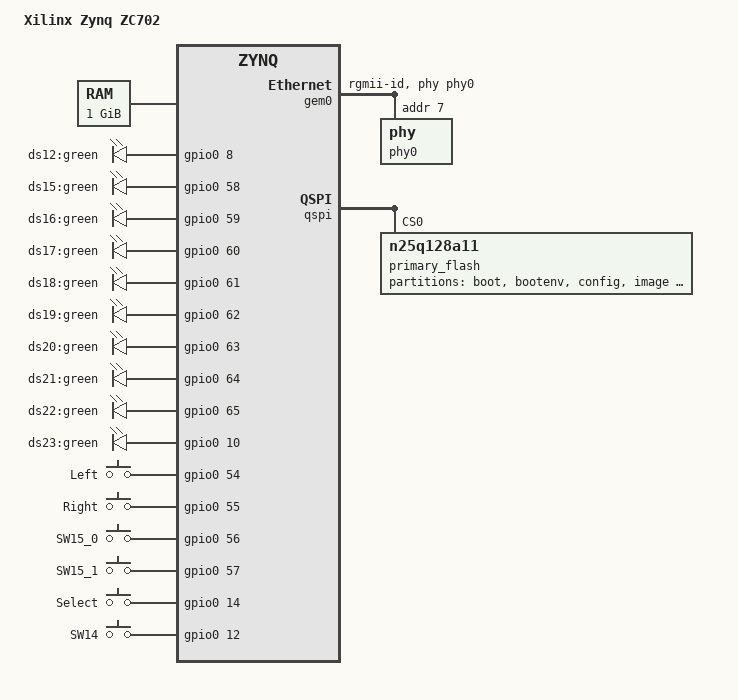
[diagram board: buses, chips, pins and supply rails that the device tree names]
#include "zynq.dtsi"

#include <dt-bindings/interrupt-controller/irq.h>

/ {
	model = "Xilinx Zynq ZC702";

	memory {
		device_type = "memory";
		reg = <0x000000000 0x40000000>;
	};

	chosen {
//		bootargs = "console=ttyPS0,115200 root=/dev/ram rw initrd=0x1100000,33M ip=:::::eth0:dhcp earlyprintk";
		bootargs = "console=ttyPS0,115200 root=/dev/mmcblk0p2 rw earlyprintk rootfstype=ext4 rootwait";
		stdout-path = "/amba@0/uart@E0001000";
	};

	leds {
		compatible = "gpio-leds";
		ds12 {
			label = "ds12:green";
			gpios = <&gpio0 8 0>;
		};

		ds15 {
			label = "ds15:green";
			gpios = <&gpio0 58 0>;
		};

		ds16 {
			label = "ds16:green";
			gpios = <&gpio0 59 0>;
		};

		ds17 {
			label = "ds17:green";
			gpios = <&gpio0 60 0>;
		};

		ds18 {
			label = "ds18:green";
			gpios = <&gpio0 61 0>;
		};

		ds19 {
			label = "ds19:green";
			gpios = <&gpio0 62 0>;
		};

		ds20 {
			label = "ds20:green";
			gpios = <&gpio0 63 0>;
		};

		ds21 {
			label = "ds21:green";
			gpios = <&gpio0 64 0>;
		};

		ds22 {
			label = "ds22:green";
			gpios = <&gpio0 65 0>;
		};

		ds23 {
			label = "ds23:green";
			gpios = <&gpio0 10 0>;
		};
	};

	gpio_keys {
		compatible = "gpio-keys";
		#address-cells = <1>;
		#size-cells = <0>;
		autorepeat;

		sw5 {
			label = "Left";
			linux,code = <105>; // Left
			gpios = <&gpio0 54 0>;
		};

		sw7 {
			label = "Right";
			linux,code = <106>; // Right
			gpios = <&gpio0 55 0>;
		};

		sw15_0 {
			label = "SW15_0";
			linux,code = <0>; // SW_LID
			linux,input-type = <0x5>; // EV_SW
			gpios = <&gpio0 56 0>;
		};

		sw15_1 {
			label = "SW15_1";
			linux,code = <1>; // SW_TABLET_MODE
			linux,input-type = <0x5>; // EV_SW
			gpios = <&gpio0 57 0>;
		};

		sw13 {
			label = "Select";
			linux,code = <28>; // Enter
			gpios = <&gpio0 14 0>;
		};

		sw14 {
			label = "SW14";
			linux,code = <1>; // Esc
			gpios = <&gpio0 12 0>;
		};
	};
};

&gem0 {
	phy-handle = <&phy0>;
	phy-mode = "rgmii-id";

	phy0: phy@7 {
		device_type = "ethernet-phy";
		reg = <0x7>;
	};
};

&usb0 {
	xlnx,phy-reset-gpio = <&gpio0 7 0>;
};

&qspi {
	status = "okay";
	is-dual = <0>;
	num-cs = <1>;
	primary_flash: ps7-qspi@0 {
		#address-cells = <1>;
		#size-cells = <1>;
		compatible = "n25q128a11";
		reg = <0x0>;
		spi-tx-bus-width = <1>;
		spi-rx-bus-width = <4>;
		partition@0 {
			label = "boot";
			reg = <0x00000000 0x00500000>;
		};
		partition@500000 {
			label = "bootenv";
			reg = <0x00500000 0x00020000>;
		};
		partition@520000 {
			label = "config";
			reg = <0x00520000 0x00020000>;
		};
		partition@540000 {
			label = "image";
			reg = <0x00540000 0x00a80000>;
		};
		partition@fc0000 {
			label = "spare";
			reg = <0x00fc0000 0x00000000>;
		};
	};
};
